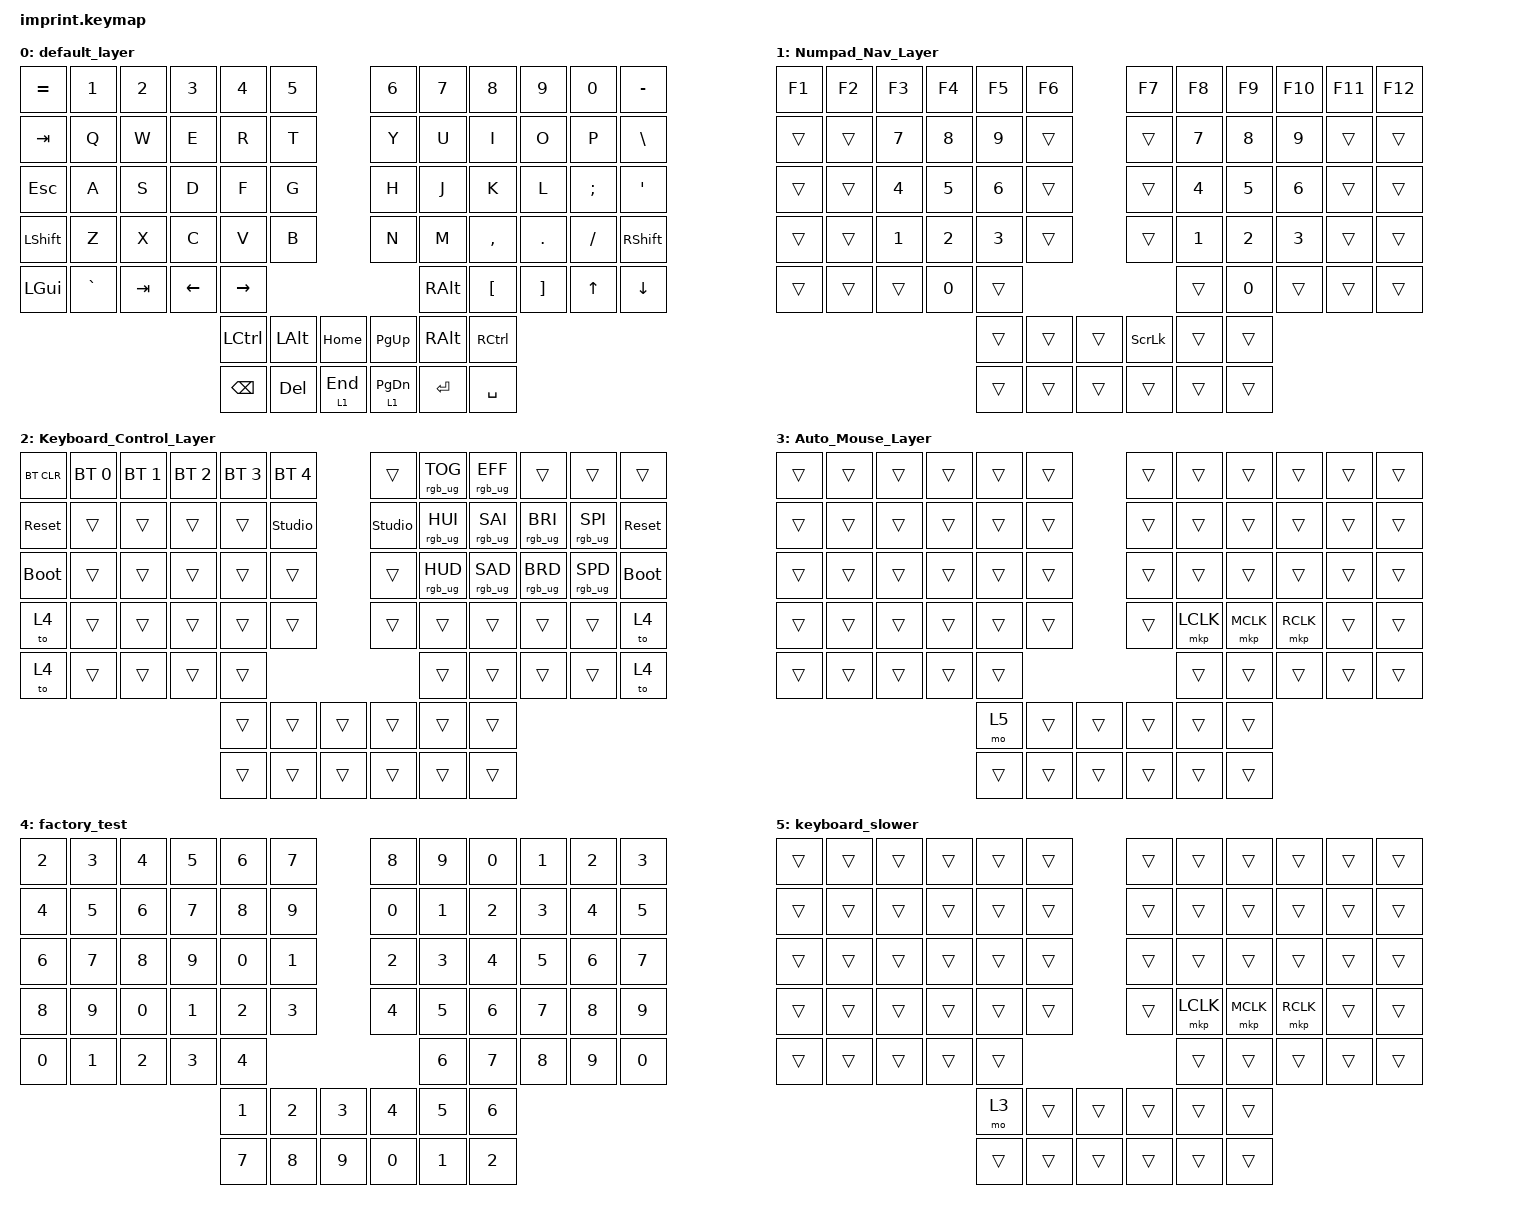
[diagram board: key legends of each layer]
#include <input/processors.dtsi>
#include <dt-bindings/zmk/input_transform.h>
#include <behaviors.dtsi>
#include <dt-bindings/zmk/bt.h>
#include <dt-bindings/zmk/keys.h>
#include <dt-bindings/zmk/pointing.h>
#include <dt-bindings/zmk/rgb.h>

/ {
    chosen { zmk,physical-layout = &physical_layout_imprint_number_row_full_bottom_row; };

    keymap {
        compatible = "zmk,keymap";

        default_layer {
            bindings = <
&kp EQUAL   &kp N1     &kp N2   &kp N3          &kp N4         &kp N5                     &kp N6           &kp N7         &kp N8     &kp N9    &kp N0        &kp MINUS
&kp TAB     &kp Q      &kp W    &kp E           &kp R          &kp T                      &kp Y            &kp U          &kp I      &kp O     &kp P         &kp BSLH
&kp ESCAPE  &kp A      &kp S    &kp D           &kp F          &kp G                      &kp H            &kp J          &kp K      &kp L     &kp SEMI      &kp SQT
&kp LSHFT   &kp Z      &kp X    &kp C           &kp V          &kp B                      &kp N            &kp M          &kp COMMA  &kp DOT   &kp FSLH      &kp RSHFT
&kp LGUI    &kp GRAVE  &kp TAB  &kp LEFT_ARROW  &kp RIGHT                                                  &kp RIGHT_ALT  &kp LBKT   &kp RBKT  &kp UP_ARROW  &kp DOWN_ARROW
                                                &kp LCTRL      &kp LEFT_ALT  &kp HOME     &kp PAGE_UP      &kp RIGHT_ALT  &kp RCTRL
                                                &kp BACKSPACE  &kp DELETE    &lt 1 END    &lt 1 PAGE_DOWN  &kp RET        &kp SPACE
            >;
        };

        Numpad_Nav_Layer {
            bindings = <
&kp F1  &kp F2  &kp F3  &kp F4  &kp F5  &kp F6            &kp F7          &kp F8        &kp F9        &kp F10       &kp F11  &kp F12
&trans  &trans  &kp N7  &kp N8  &kp N9  &trans            &trans          &kp NUMBER_7  &kp NUMBER_8  &kp NUMBER_9  &trans   &trans
&trans  &trans  &kp N4  &kp N5  &kp N6  &trans            &trans          &kp NUMBER_4  &kp NUMBER_5  &kp NUMBER_6  &trans   &trans
&trans  &trans  &kp N1  &kp N2  &kp N3  &trans            &trans          &kp NUMBER_1  &kp NUMBER_2  &kp NUMBER_3  &trans   &trans
&trans  &trans  &trans  &kp N0  &trans                                    &trans        &kp NUMBER_0  &trans        &trans   &trans
                                &trans  &trans  &trans    &kp SCROLLLOCK  &trans        &trans
                                &trans  &trans  &trans    &trans          &trans        &trans
            >;
        };

        Keyboard_Control_Layer {
            bindings = <
&bt BT_CLR   &bt BT_SEL 0  &bt BT_SEL 1  &bt BT_SEL 2  &bt BT_SEL 3  &bt BT_SEL 4              &trans          &rgb_ug RGB_TOG  &rgb_ug RGB_EFF  &trans           &trans           &trans
&sys_reset   &trans        &trans        &trans        &trans        &studio_unlock            &studio_unlock  &rgb_ug RGB_HUI  &rgb_ug RGB_SAI  &rgb_ug RGB_BRI  &rgb_ug RGB_SPI  &sys_reset
&bootloader  &trans        &trans        &trans        &trans        &trans                    &trans          &rgb_ug RGB_HUD  &rgb_ug RGB_SAD  &rgb_ug RGB_BRD  &rgb_ug RGB_SPD  &bootloader
&to 4        &trans        &trans        &trans        &trans        &trans                    &trans          &trans           &trans           &trans           &trans           &to 4
&to 4        &trans        &trans        &trans        &trans                                                  &trans           &trans           &trans           &trans           &to 4
                                                       &trans        &trans          &trans    &trans          &trans           &trans
                                                       &trans        &trans          &trans    &trans          &trans           &trans
            >;
        };

        Auto_Mouse_Layer {
            bindings = <
&trans  &trans  &trans  &trans  &trans  &trans            &trans  &trans     &trans     &trans     &trans  &trans
&trans  &trans  &trans  &trans  &trans  &trans            &trans  &trans     &trans     &trans     &trans  &trans
&trans  &trans  &trans  &trans  &trans  &trans            &trans  &trans     &trans     &trans     &trans  &trans
&trans  &trans  &trans  &trans  &trans  &trans            &trans  &mkp LCLK  &mkp MCLK  &mkp RCLK  &trans  &trans
&trans  &trans  &trans  &trans  &trans                            &trans     &trans     &trans     &trans  &trans
                                &mo 5   &trans  &trans    &trans  &trans     &trans
                                &trans  &trans  &trans    &trans  &trans     &trans
            >;
        };

        factory_test {
            bindings = <
&kp N2  &kp N3  &kp N4  &kp N5  &kp N6  &kp N7            &kp N8  &kp N9  &kp N0  &kp N1  &kp N2  &kp N3
&kp N4  &kp N5  &kp N6  &kp N7  &kp N8  &kp N9            &kp N0  &kp N1  &kp N2  &kp N3  &kp N4  &kp N5
&kp N6  &kp N7  &kp N8  &kp N9  &kp N0  &kp N1            &kp N2  &kp N3  &kp N4  &kp N5  &kp N6  &kp N7
&kp N8  &kp N9  &kp N0  &kp N1  &kp N2  &kp N3            &kp N4  &kp N5  &kp N6  &kp N7  &kp N8  &kp N9
&kp N0  &kp N1  &kp N2  &kp N3  &kp N4                            &kp N6  &kp N7  &kp N8  &kp N9  &kp N0
                                &kp N1  &kp N2  &kp N3    &kp N4  &kp N5  &kp N6
                                &kp N7  &kp N8  &kp N9    &kp N0  &kp N1  &kp N2
            >;
        };

        keyboard_slower {
            bindings = <
&trans  &trans  &trans  &trans  &trans  &trans            &trans  &trans     &trans     &trans     &trans  &trans
&trans  &trans  &trans  &trans  &trans  &trans            &trans  &trans     &trans     &trans     &trans  &trans
&trans  &trans  &trans  &trans  &trans  &trans            &trans  &trans     &trans     &trans     &trans  &trans
&trans  &trans  &trans  &trans  &trans  &trans            &trans  &mkp LCLK  &mkp MCLK  &mkp RCLK  &trans  &trans
&trans  &trans  &trans  &trans  &trans                            &trans     &trans     &trans     &trans  &trans
                                &mo 3   &trans  &trans    &trans  &trans     &trans
                                &trans  &trans  &trans    &trans  &trans     &trans
            >;
        };
    };
};

// right hand trackball configuration
// now used for scrolling

&trackball_peripheral_listener {
    input-processors =
        // multiply sensitivity by 1, divide by 30 (make it slower for scrolling),,,,,,,,,,,
        <&zip_xy_scaler 1 30>,
        // make this trackball output scrolling events by default instead of cursor movement,,,,,,,,,,,
        <&zip_xy_to_scroll_mapper>,
        // invert vertical scrolling so that the view moves in the same direction as the top of the trackball.,,,,,,,,,,,,,,
        <&zip_scroll_transform INPUT_TRANSFORM_Y_INVERT>;
};

//left hand trackball configuration

&trackball_central_listener {
    input-processors =
        // multiply sensitivity by 1, divide by 2 ,,,,,,,,,,,
        <&zip_xy_scaler 1 2>,
        // activate layer 3 within 1000ms of the trackball moving,,,,,,,,,,,
        <&zip_temp_layer 3 1000>;

    snipe {
        layers = <5>;
        input-processors = <&zip_xy_scaler 1 10>;
        process-next;
    };
};
